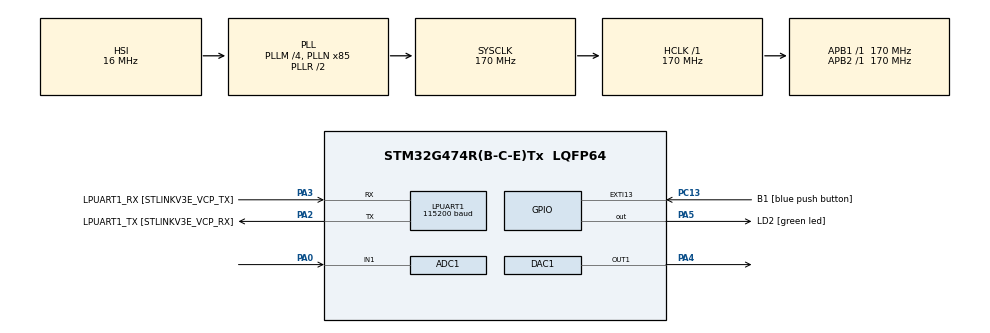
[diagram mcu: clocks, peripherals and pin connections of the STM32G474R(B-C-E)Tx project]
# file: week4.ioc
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ADC1.Channel-0\#ChannelRegularConversion=ADC_CHANNEL_1
ADC1.NbrOfConversionFlag=1
ADC1.OffsetNumber-0\#ChannelRegularConversion=ADC_OFFSET_NONE
ADC1.Rank-0\#ChannelRegularConversion=1
ADC1.Resolution=ADC_RESOLUTION_10B
ADC1.SamplingTime-0\#ChannelRegularConversion=ADC_SAMPLETIME_2CYCLES_5
ADC1.master=1
LPUART1.BaudRate=115200
LPUART1.WordLength=UART_WORDLENGTH_8B
Mcu.Family=STM32G4
Mcu.Name=STM32G474R(B-C-E)Tx
Mcu.Package=LQFP64
NVIC.EXTI15_10_IRQn=true\:0\:0\:false\:false\:true\:true\:true\:true
NVIC.PriorityGroup=NVIC_PRIORITYGROUP_4
PA0.Mode=IN1-Single-Ended
PA0.Signal=ADC1_IN1
PA13.GPIO_Label=T_SWDIO
PA13.Mode=Serial_Wire
PA13.Signal=SYS_JTMS-SWDIO
PA14.GPIO_Label=T_SWCLK
PA14.Mode=Serial_Wire
PA14.Signal=SYS_JTCK-SWCLK
PA2.GPIO_Label=LPUART1_TX [STLINKV3E_VCP_RX]
PA2.Mode=Asynchronous
PA2.Signal=LPUART1_TX
PA3.GPIO_Label=LPUART1_RX [STLINKV3E_VCP_TX]
PA3.Mode=Asynchronous
PA3.Signal=LPUART1_RX
PA4.Signal=COMP_DAC11_group
PA5.GPIO_Label=LD2 [green led]
PA5.Signal=GPIO_Output
PB3.GPIO_Label=T_SWO
PB3.Signal=SYS_JTDO-SWO
PC13.GPIO_Label=B1 [blue push button]
PC13.Signal=GPXTI13
PC14-OSC32_IN.Mode=LSE-External-Oscillator
PC14-OSC32_IN.Signal=RCC_OSC32_IN
PC15-OSC32_OUT.Mode=LSE-External-Oscillator
PC15-OSC32_OUT.Signal=RCC_OSC32_OUT
PF0-OSC_IN.Mode=HSE-External-Oscillator
PF0-OSC_IN.Signal=RCC_OSC_IN
PF1-OSC_OUT.Mode=HSE-External-Oscillator
PF1-OSC_OUT.Signal=RCC_OSC_OUT
ProjectManager.HeapSize=0x200
ProjectManager.StackSize=0x400
ProjectManager.TargetToolchain=STM32CubeIDE
RCC.ADC12Freq_Value=170000000
RCC.ADC345Freq_Value=170000000
RCC.AHBFreq_Value=170000000
RCC.APB1Freq_Value=170000000
RCC.APB1TimFreq_Value=170000000
RCC.APB2Freq_Value=170000000
RCC.APB2TimFreq_Value=170000000
RCC.CortexFreq_Value=170000000
RCC.EXTERNAL_CLOCK_VALUE=12288000
RCC.HCLKFreq_Value=170000000
RCC.HSE_VALUE=24000000
RCC.HSI48_VALUE=48000000
RCC.HSI_VALUE=16000000
RCC.PLLM=RCC_PLLM_DIV4
RCC.PLLN=85
RCC.RTCClockSelection=RCC_RTCCLKSOURCE_LSE
RCC.SYSCLKFreq_VALUE=170000000
RCC.SYSCLKSource=RCC_SYSCLKSOURCE_PLLCLK
RCC.USBFreq_Value=170000000
RCC.VCOOutputFreq_Value=340000000
SH.COMP_DAC11_group.0=DAC1_OUT1,DAC_OUT1
VP_SYS_VS_DBSignals.Mode=DisableDeadBatterySignals
board=NUCLEO-G474RE

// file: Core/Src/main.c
/* USER CODE BEGIN Header */
/**
  ******************************************************************************
  * @file           : main.c
  * @brief          : Main program body
  ******************************************************************************
  * @attention
  *
  * Copyright (c) 2023 STMicroelectronics.
  * All rights reserved.
  *
  * This software is licensed under terms that can be found in the LICENSE file
  * in the root directory of this software component.
  * If no LICENSE file comes with this software, it is provided AS-IS.
  *
  ******************************************************************************
  */
/* USER CODE END Header */
#include "main.h"

ADC_HandleTypeDef hadc1;

DAC_HandleTypeDef hdac1;

UART_HandleTypeDef hlpuart1;

/* USER CODE BEGIN PV */
float DAC_Output=0;
uint16_t x = 0;
uint16_t DAC_Output2 = 0;
float calculate_ADC = 0;
struct _ADC_tag
{
ADC_ChannelConfTypeDef Config;
uint16_t data;
};
struct _ADC_tag ADC1_Channel[1] =
{
{
.Config.Channel = ADC_CHANNEL_1,
.Config.Rank = ADC_REGULAR_RANK_1,
.Config.SamplingTime = ADC_SAMPLETIME_640CYCLES_5,
.Config.SingleDiff = ADC_SINGLE_ENDED,
.Config.OffsetNumber = ADC_OFFSET_NONE,
.Config.Offset = 0,
.data = 0
}
};
/* USER CODE END PV */

void SystemClock_Config(void);
static void MX_GPIO_Init(void);
static void MX_LPUART1_UART_Init(void);
static void MX_DAC1_Init(void);
static void MX_ADC1_Init(void);
/* USER CODE BEGIN PFP */
void DAC_Update();
void ADC_Read_blocking();
/* USER CODE END PFP */

int main(void)
{

  /* MCU Configuration--------------------------------------------------------*/

  /* Reset of all peripherals, Initializes the Flash interface and the Systick. */
  HAL_Init();

  /* Configure the system clock */
  SystemClock_Config();

  /* Initialize all configured peripherals */
  MX_GPIO_Init();
  MX_LPUART1_UART_Init();
  MX_DAC1_Init();
  MX_ADC1_Init();
  /* USER CODE BEGIN 2 */
  HAL_DAC_SetValue(&hdac1, DAC_CHANNEL_1, DAC_ALIGN_12B_R, 2048);
  HAL_DAC_Start(&hdac1, DAC_CHANNEL_1);
  HAL_ADCEx_Calibration_Start(&hadc1, ADC_SINGLE_ENDED);
  /* USER CODE END 2 */

  /* Infinite loop */
  while (1)
  {

    /* USER CODE BEGIN 3 */
	  DAC_Update();
	  ADC_Read_blocking();
	  calculate_ADC = ADC1_Channel[0].data * (3.3/1023);

  }
  /* USER CODE END 3 */
}

void SystemClock_Config(void)
{
  RCC_OscInitTypeDef RCC_OscInitStruct = {0};
  RCC_ClkInitTypeDef RCC_ClkInitStruct = {0};

  /** Configure the main internal regulator output voltage
  */
  HAL_PWREx_ControlVoltageScaling(PWR_REGULATOR_VOLTAGE_SCALE1_BOOST);

  /** Initializes the RCC Oscillators according to the specified parameters
  * in the RCC_OscInitTypeDef structure.
  */
  RCC_OscInitStruct.OscillatorType = RCC_OSCILLATORTYPE_HSI;
  RCC_OscInitStruct.HSIState = RCC_HSI_ON;
  RCC_OscInitStruct.HSICalibrationValue = RCC_HSICALIBRATION_DEFAULT;
  RCC_OscInitStruct.PLL.PLLState = RCC_PLL_ON;
  RCC_OscInitStruct.PLL.PLLSource = RCC_PLLSOURCE_HSI;
  RCC_OscInitStruct.PLL.PLLM = RCC_PLLM_DIV4;
  RCC_OscInitStruct.PLL.PLLN = 85;
  RCC_OscInitStruct.PLL.PLLP = RCC_PLLP_DIV2;
  RCC_OscInitStruct.PLL.PLLQ = RCC_PLLQ_DIV2;
  RCC_OscInitStruct.PLL.PLLR = RCC_PLLR_DIV2;
  if (HAL_RCC_OscConfig(&RCC_OscInitStruct) != HAL_OK)
  {
    Error_Handler();
  }

  /** Initializes the CPU, AHB and APB buses clocks
  */
  RCC_ClkInitStruct.ClockType = RCC_CLOCKTYPE_HCLK|RCC_CLOCKTYPE_SYSCLK
                              |RCC_CLOCKTYPE_PCLK1|RCC_CLOCKTYPE_PCLK2;
  RCC_ClkInitStruct.SYSCLKSource = RCC_SYSCLKSOURCE_PLLCLK;
  RCC_ClkInitStruct.AHBCLKDivider = RCC_SYSCLK_DIV1;
  RCC_ClkInitStruct.APB1CLKDivider = RCC_HCLK_DIV1;
  RCC_ClkInitStruct.APB2CLKDivider = RCC_HCLK_DIV1;

  if (HAL_RCC_ClockConfig(&RCC_ClkInitStruct, FLASH_LATENCY_4) != HAL_OK)
  {
    Error_Handler();
  }
}

static void MX_ADC1_Init(void)
{

  ADC_MultiModeTypeDef multimode = {0};
  ADC_ChannelConfTypeDef sConfig = {0};

  /** Common config
  */
  hadc1.Instance = ADC1;
  hadc1.Init.ClockPrescaler = ADC_CLOCK_SYNC_PCLK_DIV4;
  hadc1.Init.Resolution = ADC_RESOLUTION_10B;
  hadc1.Init.DataAlign = ADC_DATAALIGN_RIGHT;
  hadc1.Init.GainCompensation = 0;
  hadc1.Init.ScanConvMode = ADC_SCAN_DISABLE;
  hadc1.Init.EOCSelection = ADC_EOC_SINGLE_CONV;
  hadc1.Init.LowPowerAutoWait = DISABLE;
  hadc1.Init.ContinuousConvMode = DISABLE;
  hadc1.Init.NbrOfConversion = 1;
  hadc1.Init.DiscontinuousConvMode = DISABLE;
  hadc1.Init.ExternalTrigConv = ADC_SOFTWARE_START;
  hadc1.Init.ExternalTrigConvEdge = ADC_EXTERNALTRIGCONVEDGE_NONE;
  hadc1.Init.DMAContinuousRequests = DISABLE;
  hadc1.Init.Overrun = ADC_OVR_DATA_PRESERVED;
  hadc1.Init.OversamplingMode = DISABLE;
  if (HAL_ADC_Init(&hadc1) != HAL_OK)
  {
    Error_Handler();
  }

  /** Configure the ADC multi-mode
  */
  multimode.Mode = ADC_MODE_INDEPENDENT;
  if (HAL_ADCEx_MultiModeConfigChannel(&hadc1, &multimode) != HAL_OK)
  {
    Error_Handler();
  }

  /** Configure Regular Channel
  */
  sConfig.Channel = ADC_CHANNEL_1;
  sConfig.Rank = ADC_REGULAR_RANK_1;
  sConfig.SamplingTime = ADC_SAMPLETIME_2CYCLES_5;
  sConfig.SingleDiff = ADC_SINGLE_ENDED;
  sConfig.OffsetNumber = ADC_OFFSET_NONE;
  sConfig.Offset = 0;
  if (HAL_ADC_ConfigChannel(&hadc1, &sConfig) != HAL_OK)
  {
    Error_Handler();
  }

}

static void MX_DAC1_Init(void)
{

  DAC_ChannelConfTypeDef sConfig = {0};

  /** DAC Initialization
  */
  hdac1.Instance = DAC1;
  if (HAL_DAC_Init(&hdac1) != HAL_OK)
  {
    Error_Handler();
  }

  /** DAC channel OUT1 config
  */
  sConfig.DAC_HighFrequency = DAC_HIGH_FREQUENCY_INTERFACE_MODE_AUTOMATIC;
  sConfig.DAC_DMADoubleDataMode = DISABLE;
  sConfig.DAC_SignedFormat = DISABLE;
  sConfig.DAC_SampleAndHold = DAC_SAMPLEANDHOLD_DISABLE;
  sConfig.DAC_Trigger = DAC_TRIGGER_NONE;
  sConfig.DAC_Trigger2 = DAC_TRIGGER_NONE;
  sConfig.DAC_OutputBuffer = DAC_OUTPUTBUFFER_ENABLE;
  sConfig.DAC_ConnectOnChipPeripheral = DAC_CHIPCONNECT_EXTERNAL;
  sConfig.DAC_UserTrimming = DAC_TRIMMING_FACTORY;
  if (HAL_DAC_ConfigChannel(&hdac1, &sConfig, DAC_CHANNEL_1) != HAL_OK)
  {
    Error_Handler();
  }

}

static void MX_LPUART1_UART_Init(void)
{

  hlpuart1.Instance = LPUART1;
  hlpuart1.Init.BaudRate = 115200;
  hlpuart1.Init.WordLength = UART_WORDLENGTH_8B;
  hlpuart1.Init.StopBits = UART_STOPBITS_1;
  hlpuart1.Init.Parity = UART_PARITY_NONE;
  hlpuart1.Init.Mode = UART_MODE_TX_RX;
  hlpuart1.Init.HwFlowCtl = UART_HWCONTROL_NONE;
  hlpuart1.Init.OneBitSampling = UART_ONE_BIT_SAMPLE_DISABLE;
  hlpuart1.Init.ClockPrescaler = UART_PRESCALER_DIV1;
  hlpuart1.AdvancedInit.AdvFeatureInit = UART_ADVFEATURE_NO_INIT;
  if (HAL_UART_Init(&hlpuart1) != HAL_OK)
  {
    Error_Handler();
  }
  if (HAL_UARTEx_SetTxFifoThreshold(&hlpuart1, UART_TXFIFO_THRESHOLD_1_8) != HAL_OK)
  {
    Error_Handler();
  }
  if (HAL_UARTEx_SetRxFifoThreshold(&hlpuart1, UART_RXFIFO_THRESHOLD_1_8) != HAL_OK)
  {
    Error_Handler();
  }
  if (HAL_UARTEx_DisableFifoMode(&hlpuart1) != HAL_OK)
  {
    Error_Handler();
  }

}

static void MX_GPIO_Init(void)
{
  GPIO_InitTypeDef GPIO_InitStruct = {0};

  /* GPIO Ports Clock Enable */
  __HAL_RCC_GPIOC_CLK_ENABLE();
  __HAL_RCC_GPIOF_CLK_ENABLE();
  __HAL_RCC_GPIOA_CLK_ENABLE();
  __HAL_RCC_GPIOB_CLK_ENABLE();

  /*Configure GPIO pin Output Level */
  HAL_GPIO_WritePin(LD2_GPIO_Port, LD2_Pin, GPIO_PIN_RESET);

  /*Configure GPIO pin : B1_Pin */
  GPIO_InitStruct.Pin = B1_Pin;
  GPIO_InitStruct.Mode = GPIO_MODE_IT_RISING;
  GPIO_InitStruct.Pull = GPIO_NOPULL;
  HAL_GPIO_Init(B1_GPIO_Port, &GPIO_InitStruct);

  /*Configure GPIO pin : LD2_Pin */
  GPIO_InitStruct.Pin = LD2_Pin;
  GPIO_InitStruct.Mode = GPIO_MODE_OUTPUT_PP;
  GPIO_InitStruct.Pull = GPIO_NOPULL;
  GPIO_InitStruct.Speed = GPIO_SPEED_FREQ_LOW;
  HAL_GPIO_Init(LD2_GPIO_Port, &GPIO_InitStruct);

  /* EXTI interrupt init*/
  HAL_NVIC_SetPriority(EXTI15_10_IRQn, 0, 0);
  HAL_NVIC_EnableIRQ(EXTI15_10_IRQn);

}

/* USER CODE BEGIN 4 */
void HAL_GPIO_EXTI_Callback(uint16_t GPIO_Pin)
{
//if(GPIO_Pin == GPIO_PIN_13)
//{
//HAL_GPIO_TogglePin(GPIOA, GPIO_PIN_5);
//}
	HAL_DAC_SetValue(&hdac1, DAC_CHANNEL_1, DAC_ALIGN_12B_R, calculate_ADC  * (4095/3.3));

}

void DAC_Update()
{
static uint32_t timeStamp =0;
if(HAL_GetTick()>timeStamp)
{
timeStamp = HAL_GetTick()+750;
x = DAC_Output * (4095.0/3.275);
HAL_DAC_SetValue(&hdac1, DAC_CHANNEL_1, DAC_ALIGN_12B_R, x );
//HAL_DAC_SetValue(&hdac1, DAC_CHANNEL_1, DAC_ALIGN_12B_R, DAC_Output2 );
}
}

void ADC_Read_blocking()
{
static uint32_t TimeStamp = 0;
if( HAL_GetTick()<TimeStamp) return;
TimeStamp = HAL_GetTick()+500;
for(int i=0;i<1;i++)
{
HAL_ADC_ConfigChannel(&hadc1, &ADC1_Channel[i].Config);
HAL_ADC_Start(&hadc1);
HAL_ADC_PollForConversion(&hadc1, 100);
ADC1_Channel[i].data = HAL_ADC_GetValue(&hadc1);
HAL_ADC_Stop(&hadc1);
}
}
/* USER CODE END 4 */

void Error_Handler(void)
{
  __disable_irq();
  while (1)
  {
  }
}
